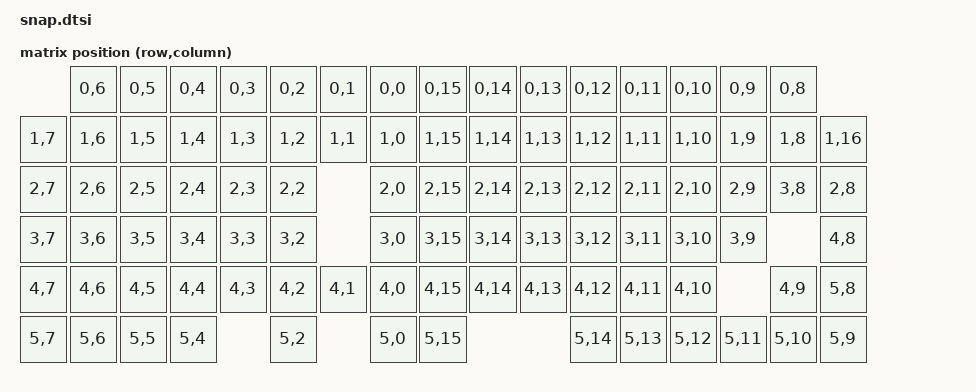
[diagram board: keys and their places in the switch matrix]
/*
 * Copyright (c) 2022 The ZMK Contributors
 *
 * SPDX-License-Identifier: MIT
 */

#include <dt-bindings/zmk/matrix_transform.h>

/ {
	chosen {
		zephyr,display = &oled;
		zmk,kscan = &kscan_composite;
		zmk,matrix_transform = &default_transform;
	};

	left_encoder: encoder_left {
		compatible = "alps,ec11";
		label = "LEFT_ENCODER";
		resolution = <4>;
		status = "disabled";
	};

	right_encoder: encoder_right {
		compatible = "alps,ec11";
		label = "RIGHT_ENCODER";
		resolution = <4>;
		status = "disabled";
	};

	default_transform: keymap_transform_0 {
		compatible = "zmk,matrix-transform";
		columns = <17>;
		rows = <6>;

//        | R0C06L | R0C05L | R0C04L | R0C03L | R0C02L | R0C01L | R0C00L | | R0C15R | R0C14R | R0C13R | R0C12R | R0C11R | R0C10R | R0C09R | R0C08R |
// R1C07L | R1C06L | R1C05L | R1C04L | R1C03L | R1C02L | R1C01L | R1C00L | | R1C15R | R1C14R | R1C13R | R1C12R | R1C11R | R1C10R | R1C09R | R1C08R | R2C0XR |
// R2C07L | R2C06L | R2C05L | R2C04L | R2C03L | R2C02L |          R2C00L | | R2C15R | R2C14R | R2C13R | R2C12R | R2C11R | R2C10R | R2C09R | R3C08R | R2C08R |
// R3C07L | R3C06L | R3C05L | R3C04L | R3C03L | R3C02L |          R3C00L | | R3C15R | R3C14R | R3C13R | R3C12R | R3C11R | R3C10R | R3C09R |          R4C08R |
// R4C07L | R4C06L | R4C05L | R4C04L | R4C03L | R4C02L | R4C01L | R4C00L | | R4C15R | R4C14R | R4C13R | R4C12R | R4C11R | R4C10R |          R4C09R | R5C08R |
// R5C07L | R5C06L | R5C05L | R5C04L |          R5C02L |          R5C00L | | R5C15R |                   R5C14R | R5C13R | R5C12R | R5C11R | R5C10R | R5C09R |
		
	map = <
		RC(0,6) RC(0,5) RC(0,4) RC(0,3) RC(0,2) RC(0,1) RC(0,0)    RC(0,15) RC(0,14) RC(0,13) RC(0,12) RC(0,11) RC(0,10) RC(0,9)  RC(0,8)
RC(1,7) RC(1,6) RC(1,5) RC(1,4) RC(1,3) RC(1,2) RC(1,1) RC(1,0)    RC(1,15) RC(1,14) RC(1,13) RC(1,12) RC(1,11) RC(1,10) RC(1,9)  RC(1,8)  RC(1,16)
RC(2,7) RC(2,6) RC(2,5) RC(2,4) RC(2,3) RC(2,2)         RC(2,0)    RC(2,15) RC(2,14) RC(2,13) RC(2,12) RC(2,11) RC(2,10) RC(2,9)  RC(3,8)  RC(2,8)
RC(3,7) RC(3,6) RC(3,5) RC(3,4) RC(3,3) RC(3,2)         RC(3,0)    RC(3,15) RC(3,14) RC(3,13) RC(3,12) RC(3,11) RC(3,10) RC(3,9)           RC(4,8)
RC(4,7) RC(4,6) RC(4,5) RC(4,4) RC(4,3) RC(4,2) RC(4,1) RC(4,0)    RC(4,15) RC(4,14) RC(4,13) RC(4,12) RC(4,11) RC(4,10)          RC(4,9)  RC(5,8)
RC(5,7) RC(5,6) RC(5,5) RC(5,4)         RC(5,2)         RC(5,0)    RC(5,15)                   RC(5,14) RC(5,13) RC(5,12) RC(5,11) RC(5,10) RC(5,9)
		>;
	};

	kscan_composite: kscan {
		compatible = "zmk,kscan-composite";
		label = "KSCAN";
		rows = <6>;
		columns = <17>;

		demux {
			kscan = <&kscan_demux>;
		};
	};

	kscan_demux: kscan_demux {
		compatible = "zmk,kscan-gpio-demux";
		label = "DEMUX";
		polling-interval-msec = <25>;
	};
};

&pro_micro_i2c {
	status = "okay";

	oled: ssd1306@3c {
		compatible = "solomon,ssd1306fb";
		reg = <0x3c>;
		label = "DISPLAY";
		width = <128>;
		height = <32>;
		segment-offset = <0>;
		page-offset = <0>;
		display-offset = <0>;
		multiplex-ratio = <31>;
		com-sequential;
		prechargep = <0x22>;
	};
};
